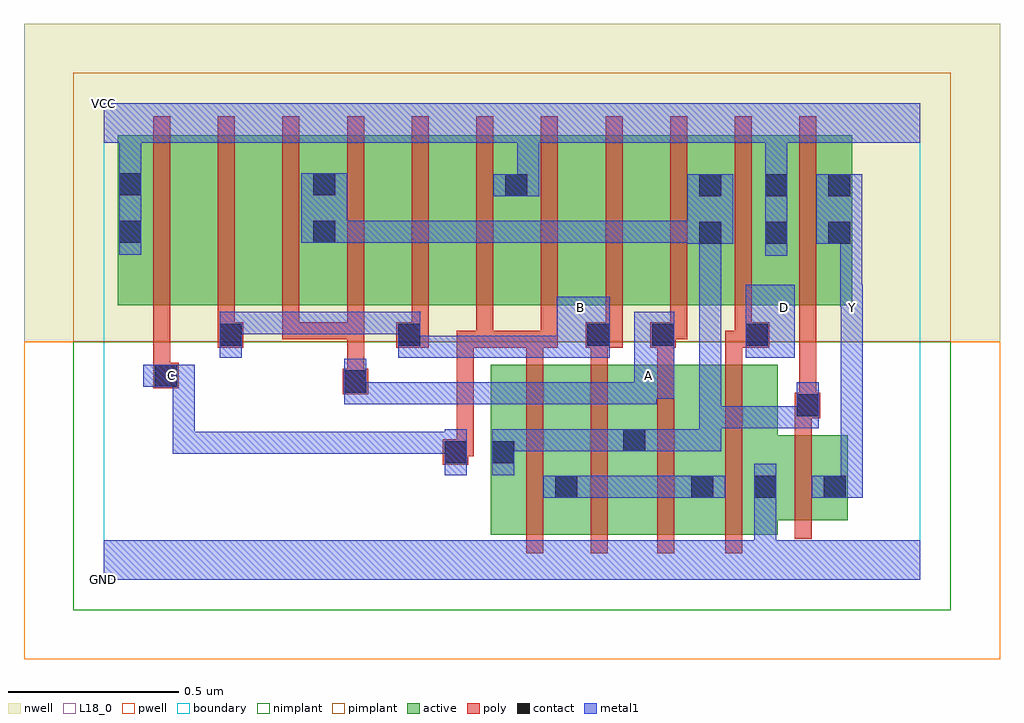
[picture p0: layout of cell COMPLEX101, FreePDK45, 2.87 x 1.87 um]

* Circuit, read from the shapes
.subckt COMPLEX101 A B C D GND VCC Y
M1 n1 C n2 VSUBS nfet w=0.5u l=0.05u
M2 n2 B n1 VSUBS nfet w=0.5u l=0.05u
M3 n1 A n2 VSUBS nfet w=0.5u l=0.05u
M4 GND D n1 VSUBS nfet w=0.5u l=0.05u
M5 Y n2 GND VSUBS nfet w=0.25u l=0.05u
M6 n3 C VCC n4 pfet w=0.5u l=0.05u
M7 n5 B n3 n4 pfet w=0.5u l=0.05u
M8 n2 A n5 n4 pfet w=0.5u l=0.05u
M9 n6 A n2 n4 pfet w=0.5u l=0.05u
M10 n7 B n6 n4 pfet w=0.5u l=0.05u
M11 VCC C n7 n4 pfet w=0.5u l=0.05u
M12 n8 C VCC n4 pfet w=0.5u l=0.05u
M13 n9 B n8 n4 pfet w=0.5u l=0.05u
M14 n2 A n9 n4 pfet w=0.5u l=0.05u
M15 VCC D n2 n4 pfet w=0.5u l=0.05u
M16 Y n2 VCC n4 pfet w=0.5u l=0.05u
.ends

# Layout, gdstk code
import gdstk
lib = gdstk.Library(unit=1e-6, precision=1e-09)
def R(c, l, rs):  # rectangles x0, y0, x1, y1
    for r in rs: c.add(gdstk.rectangle(r[:2], r[2:], *l))
def A(c, l, x, y, w, h, nx, ny, dx, dy):  # array of equal rectangles
    R(c, l, [(x+i*dx, y+j*dy, x+i*dx+w, y+j*dy+h) for i in range(nx) for j in range(ny)])
active = (1, 0)
pwell = (2, 0)
nwell = (3, 0)
nimplant = (4, 0)
pimplant = (5, 0)
poly = (9, 0)
contact = (10, 0)
metal1 = (11, 0)
L18_0 = (18, 0)
boundary = (235, 0)

complex101 = lib.new_cell('COMPLEX101')
A(complex101, active, 1.322, 0.145, 0.075, 0.447, 3, 1, 0.2, 0)
A(complex101, active, 0.265, 0.807, 0.19, 0.5, 3, 1, 0.57, 0)
R(complex101, active, [(1.137,0.132,1.397,0.632), (1.322,0.132,1.597,0.632), (1.522,0.132,1.797,0.632), (1.722,0.132,1.982,0.632), (1.907,0.132,1.982,0.342), (1.137,0.145,1.212,0.632), (1.907,0.175,2.187,0.425), (2.112,0.2,2.187,0.425), (0.04,0.807,0.115,1.255), (0.04,0.807,0.265,1.307), (0.455,0.807,0.685,1.307), (0.61,0.807,0.685,1.2), (0.61,0.807,0.835,1.307), (1.025,0.807,1.25,1.307), (1.175,0.807,1.25,1.255), (1.175,0.807,1.405,1.307), (1.595,0.807,1.82,1.307), (1.745,0.807,1.82,1.2), (1.745,0.807,2.015,1.307), (1.94,0.807,2.2,1.307), (1.94,0.807,2.015,1.255), (2.125,0.807,2.2,1.2)])
R(complex101, pwell, [(-0.235,-0.235,2.635,0.7)])
R(complex101, nwell, [(-0.235,0.7,2.635,1.635)])
R(complex101, nimplant, [(-0.09,-0.09,2.49,0.7)])
R(complex101, pimplant, [(-0.09,0.7,2.49,1.49)])
A(complex101, poly, 0.335, 0.707, 0.05, 0.095, 4, 1, 0.19, 0)
A(complex101, poly, 1.475, 0.707, 0.05, 0.095, 3, 1, 0.19, 0)
A(complex101, poly, 0.145, 0.752, 0.05, 0.61, 11, 1, 0.19, 0)
R(complex101, poly, [(1.242,0.077,1.292,0.687), (1.432,0.077,1.482,0.687), (1.627,0.077,1.677,0.687), (1.827,0.077,1.877,0.687), (2.032,0.12,2.082,0.48), (0.997,0.337,1.072,0.412), (1.022,0.362,1.072,0.412), (1.022,0.362,1.087,0.412), (1.037,0.362,1.087,0.412), (1.037,0.362,1.087,0.412), (1.037,0.362,1.087,0.732), (2.032,0.43,2.082,0.525), (2.032,0.475,2.107,0.55), (2.045,0.5,2.095,0.802), (2.045,0.5,2.095,0.55), (2.045,0.5,2.095,0.55), (0.702,0.545,0.777,0.62), (0.145,0.562,0.22,0.637), (0.715,0.57,0.765,0.757), (0.145,0.587,0.195,0.637), (0.145,0.587,0.195,0.637), (0.145,0.587,0.195,0.802), (1.242,0.637,1.292,0.732), (1.432,0.637,1.482,0.732), (1.627,0.637,1.677,0.732), (1.827,0.637,1.877,0.732), (0.335,0.682,0.41,0.757), (0.86,0.682,0.955,0.757), (1.037,0.682,1.145,0.732), (1.095,0.682,1.145,0.732), (1.095,0.682,1.145,0.732), (1.095,0.682,1.145,0.802), (1.095,0.682,1.292,0.732), (1.242,0.682,1.292,0.732), (1.242,0.682,1.292,0.732), (1.242,0.682,1.335,0.732), (1.285,0.682,1.335,0.802), (1.417,0.682,1.525,0.757), (1.432,0.682,1.482,0.732), (1.432,0.682,1.482,0.732), (1.607,0.682,1.682,0.757), (1.827,0.682,1.905,0.732), (1.855,0.682,1.905,0.732), (1.855,0.682,1.957,0.757), (0.525,0.707,0.575,0.757), (0.525,0.707,0.575,0.757), (0.525,0.707,0.575,0.757), (0.525,0.707,0.765,0.757), (0.715,0.707,0.765,0.757), (1.632,0.707,1.682,0.757), (1.632,0.707,1.715,0.757)])
R(complex101, contact, [(1.327,0.24,1.392,0.305), (1.727,0.24,1.792,0.305), (1.912,0.24,1.977,0.305), (2.117,0.24,2.182,0.305), (1.002,0.342,1.067,0.407), (1.142,0.342,1.207,0.407), (1.527,0.377,1.592,0.442), (2.037,0.48,2.102,0.545), (0.707,0.55,0.772,0.615), (0.15,0.567,0.215,0.632), (0.34,0.687,0.405,0.752), (0.865,0.687,0.93,0.752), (1.422,0.687,1.487,0.752), (1.612,0.687,1.677,0.752), (1.887,0.687,1.952,0.752), (1.75,0.987,1.815,1.052), (1.945,0.987,2.01,1.052), (2.13,0.987,2.195,1.052), (0.045,0.99,0.11,1.055), (0.615,0.99,0.68,1.055), (1.18,1.127,1.245,1.192), (1.75,1.127,1.815,1.192), (1.945,1.127,2.01,1.192), (2.13,1.127,2.195,1.192), (0.045,1.13,0.11,1.195), (0.615,1.13,0.68,1.195)])
R(complex101, metal1, [(0,0,2.4,0.115), (1.912,0.05,1.977,0.27), (1.912,0.205,1.977,0.34), (1.292,0.24,1.427,0.305), (1.362,0.24,1.427,0.305), (1.362,0.24,1.427,0.305), (1.362,0.24,1.62,0.305), (1.555,0.24,1.62,0.305), (1.555,0.24,1.757,0.305), (1.692,0.24,1.757,0.305), (1.692,0.24,1.757,0.305), (1.692,0.24,1.827,0.305), (2.082,0.24,2.232,0.305), (2.167,0.24,2.232,0.797), (1.002,0.307,1.067,0.442), (1.142,0.307,1.207,0.442), (0.202,0.37,0.267,0.435), (0.202,0.37,0.405,0.435), (0.202,0.37,0.267,0.632), (0.34,0.37,0.405,0.435), (0.34,0.37,0.405,0.435), (0.34,0.37,0.405,0.435), (0.34,0.37,0.542,0.435), (0.477,0.37,0.542,0.435), (0.477,0.37,0.68,0.435), (0.615,0.37,0.68,0.435), (0.615,0.37,0.68,0.435), (0.615,0.37,0.68,0.435), (0.615,0.37,0.93,0.435), (0.865,0.37,0.93,0.435), (0.865,0.37,0.93,0.435), (0.865,0.37,0.93,0.435), (0.865,0.37,1.067,0.435), (1.002,0.37,1.067,0.435), (1.002,0.37,1.067,0.435), (1.002,0.37,1.067,0.435), (1.002,0.37,1.067,0.435), (1.142,0.377,1.207,0.442), (1.142,0.377,1.207,0.442), (1.142,0.377,1.357,0.442), (1.292,0.377,1.357,0.442), (1.292,0.377,1.357,0.442), (1.292,0.377,1.357,0.442), (1.292,0.377,1.557,0.442), (1.492,0.377,1.627,0.442), (1.562,0.377,1.815,0.442), (1.75,0.377,1.815,0.442), (1.75,0.377,1.815,0.442), (1.75,0.377,1.815,0.442), (1.75,0.377,1.815,0.442), (1.75,0.377,1.815,0.51), (1.75,0.445,1.952,0.51), (1.75,0.445,1.815,1.052), (1.887,0.445,1.952,0.51), (1.887,0.445,1.952,0.51), (1.887,0.445,1.952,0.51), (1.887,0.445,2.102,0.51), (2.037,0.445,2.102,0.58), (0.707,0.515,0.772,0.65), (0.707,0.515,0.93,0.58), (0.865,0.515,0.93,0.58), (0.865,0.515,0.93,0.58), (0.865,0.515,0.93,0.58), (0.865,0.515,1.07,0.58), (1.005,0.515,1.07,0.58), (1.005,0.515,1.07,0.58), (1.005,0.515,1.07,0.58), (1.005,0.515,1.207,0.58), (1.142,0.515,1.207,0.58), (1.142,0.515,1.207,0.58), (1.142,0.515,1.207,0.58), (1.142,0.515,1.42,0.58), (1.355,0.515,1.42,0.58), (1.355,0.515,1.42,0.58), (1.355,0.515,1.42,0.58), (1.355,0.515,1.625,0.58), (1.56,0.515,1.625,0.597), (1.56,0.532,1.625,0.597), (1.56,0.532,1.677,0.787), (0.115,0.567,0.267,0.632), (0.202,0.567,0.267,0.632), (0.202,0.567,0.267,0.632), (0.34,0.652,0.405,0.787), (0.865,0.652,0.93,0.787), (0.865,0.652,1.07,0.717), (1.005,0.652,1.07,0.717), (1.005,0.652,1.07,0.717), (1.005,0.652,1.07,0.717), (1.005,0.652,1.22,0.717), (1.155,0.652,1.22,0.717), (1.155,0.652,1.22,0.717), (1.155,0.652,1.22,0.717), (1.155,0.652,1.397,0.717), (1.332,0.652,1.397,0.717), (1.332,0.652,1.397,0.717), (1.332,0.652,1.487,0.832), (1.887,0.652,2.032,0.867), (0.34,0.722,0.405,0.787), (0.34,0.722,0.405,0.787), (0.34,0.722,0.542,0.787), (0.477,0.722,0.542,0.787), (0.477,0.722,0.542,0.787), (0.477,0.722,0.542,0.787), (0.477,0.722,0.792,0.787), (0.727,0.722,0.792,0.787), (0.727,0.722,0.93,0.787), (0.865,0.722,0.93,0.787), (0.865,0.722,0.93,0.787), (2.167,0.732,2.232,0.867), (2.165,0.802,2.23,1.052), (2.165,0.802,2.232,0.867), (2.167,0.802,2.232,0.867), (1.945,0.952,2.01,1.227), (0.045,0.955,0.11,1.23), (1.715,0.987,1.85,1.192), (1.75,0.987,1.815,1.052), (1.75,0.987,1.815,1.052), (2.095,0.987,2.23,1.192), (0.58,0.99,0.715,1.195), (0.65,0.99,0.715,1.055), (0.65,0.99,0.715,1.055), (0.65,0.99,0.93,1.055), (0.865,0.99,0.93,1.055), (0.865,0.99,0.93,1.055), (0.865,0.99,0.93,1.055), (0.865,0.99,1.07,1.055), (1.005,0.99,1.07,1.055), (1.005,0.99,1.07,1.055), (1.005,0.99,1.07,1.055), (1.005,0.99,1.22,1.055), (1.155,0.99,1.22,1.055), (1.155,0.99,1.22,1.055), (1.155,0.99,1.22,1.055), (1.155,0.99,1.357,1.055), (1.292,0.99,1.357,1.055), (1.292,0.99,1.357,1.055), (1.292,0.99,1.357,1.055), (1.292,0.99,1.62,1.055), (1.555,0.99,1.62,1.055), (1.555,0.99,1.727,1.055), (1.662,0.99,1.727,1.055), (1.662,0.99,1.78,1.055), (1.145,1.127,1.28,1.192), (1.215,1.127,1.28,1.35), (1.945,1.162,2.01,1.35), (0.045,1.165,0.11,1.35), (0,1.285,2.4,1.4)])
R(complex101, L18_0, [(0,0,2.4,0.115), (1.912,0.05,1.977,0.27), (1.912,0.205,1.977,0.34), (2.082,0.24,2.232,0.305), (2.167,0.24,2.232,0.797), (1.002,0.307,1.067,0.442), (0.202,0.37,0.267,0.435), (0.202,0.37,0.267,0.632), (0.202,0.37,0.405,0.435), (0.34,0.37,0.405,0.435), (0.34,0.37,0.405,0.435), (0.34,0.37,0.405,0.435), (0.34,0.37,0.542,0.435), (0.477,0.37,0.542,0.435), (0.477,0.37,0.68,0.435), (0.615,0.37,0.68,0.435), (0.615,0.37,0.68,0.435), (0.615,0.37,0.68,0.435), (0.615,0.37,0.93,0.435), (0.865,0.37,0.93,0.435), (0.865,0.37,0.93,0.435), (0.865,0.37,0.93,0.435), (0.865,0.37,1.067,0.435), (1.002,0.37,1.067,0.435), (1.002,0.37,1.067,0.435), (1.002,0.37,1.067,0.435), (1.002,0.37,1.067,0.435), (0.707,0.515,0.772,0.65), (0.707,0.515,0.93,0.58), (0.865,0.515,0.93,0.58), (0.865,0.515,0.93,0.58), (0.865,0.515,0.93,0.58), (0.865,0.515,1.07,0.58), (1.005,0.515,1.07,0.58), (1.005,0.515,1.07,0.58), (1.005,0.515,1.07,0.58), (1.005,0.515,1.207,0.58), (1.142,0.515,1.207,0.58), (1.142,0.515,1.207,0.58), (1.142,0.515,1.207,0.58), (1.142,0.515,1.42,0.58), (1.355,0.515,1.42,0.58), (1.355,0.515,1.42,0.58), (1.355,0.515,1.42,0.58), (1.355,0.515,1.625,0.58), (1.56,0.515,1.625,0.597), (1.56,0.532,1.625,0.597), (1.56,0.532,1.677,0.787), (0.115,0.567,0.267,0.632), (0.167,0.567,0.232,0.632), (0.202,0.567,0.267,0.632), (0.202,0.567,0.267,0.632), (1.567,0.567,1.632,0.632), (0.34,0.652,0.405,0.787), (0.865,0.652,0.93,0.787), (0.865,0.652,1.07,0.717), (1.005,0.652,1.07,0.717), (1.005,0.652,1.07,0.717), (1.005,0.652,1.07,0.717), (1.005,0.652,1.22,0.717), (1.155,0.652,1.22,0.717), (1.155,0.652,1.22,0.717), (1.155,0.652,1.22,0.717), (1.155,0.652,1.397,0.717), (1.332,0.652,1.397,0.717), (1.332,0.652,1.397,0.717), (1.332,0.652,1.487,0.832), (1.887,0.652,2.032,0.867), (0.34,0.722,0.405,0.787), (0.34,0.722,0.405,0.787), (0.34,0.722,0.542,0.787), (0.477,0.722,0.542,0.787), (0.477,0.722,0.542,0.787), (0.477,0.722,0.542,0.787), (0.477,0.722,0.792,0.787), (0.727,0.722,0.792,0.787), (0.727,0.722,0.93,0.787), (0.865,0.722,0.93,0.787), (0.865,0.722,0.93,0.787), (2.167,0.732,2.232,0.867), (1.367,0.767,1.432,0.832), (1.967,0.767,2.032,0.832), (2.167,0.767,2.232,0.832), (2.165,0.802,2.232,0.867), (2.165,0.802,2.23,1.052), (2.167,0.802,2.232,0.867), (1.945,0.952,2.01,1.227), (0.045,0.955,0.11,1.23), (2.095,0.987,2.23,1.192), (1.145,1.127,1.28,1.192), (1.215,1.127,1.28,1.35), (1.945,1.162,2.01,1.35), (0.045,1.165,0.11,1.35), (0,1.285,2.4,1.4)])
R(complex101, boundary, [(0,0,2.4,1.4)])
complex101.add(gdstk.Label('A', (1.6,0.6), layer=11, texttype=0))
complex101.add(gdstk.Label('B', (1.4,0.8), layer=11, texttype=0))
complex101.add(gdstk.Label('C', (0.2,0.6), layer=11, texttype=0))
complex101.add(gdstk.Label('D', (2,0.8), layer=11, texttype=0))
complex101.add(gdstk.Label('Y', (2.2,0.8), layer=11, texttype=0))
complex101.add(gdstk.Label('VCC', (0,1.4), layer=11, texttype=0))
complex101.add(gdstk.Label('GND', (0,0), layer=11, texttype=0))

lib.write_gds('COMPLEX101.gds')
